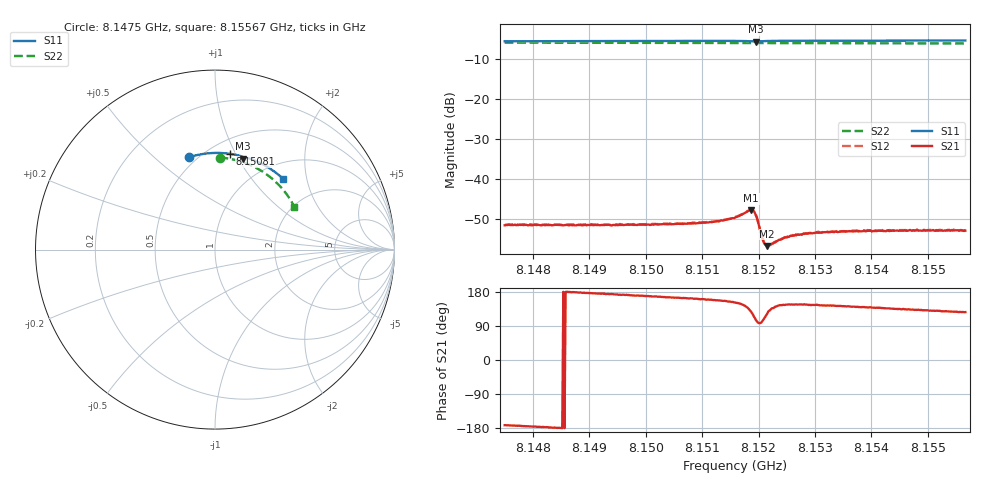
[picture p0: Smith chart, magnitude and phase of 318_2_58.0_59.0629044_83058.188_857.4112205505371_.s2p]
#  HZ  S  RI  R  50.00
! Rohde & Schwarz Vector Network Analyzer
! Rohde-Schwarz,ZNB20-2Port,1311601062101988,3.16
! Created: UTC 3/21/2024, 1:04:29 AM
! freq[Hz]  re:S11  im:S11  re:S21  im:S21  re:S12  im:S12  re:S22  im:S22
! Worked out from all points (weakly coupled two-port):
!   401 points, 8.1475 GHz to 8.15567 GHz, reference 50 ohm
!   highest |S21| = -47.86 dB at 8.15187 GHz (marker M1); lowest = -56.8 dB at 8.15215 GHz (marker M2)
!   lowest |S11| = -5.5 dB at 8.15195 GHz (marker M3), VSWR 3.26, Z = 37.2 + j52.4 ohm
!   |S11| at or under -10 dB: nowhere
!   |S22| runs from -6.0 to -5.8 dB; largest |S21 - S12| = 0.00013
!   S11 on the Smith chart (normalised r, x): 8.1475 GHz: 0.45, +0.65; 8.15081 GHz: 0.63, +0.95; 8.15567 GHz: 1.30, +1.46
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8.147498e9  -0.1438 0.5151  -0.00259 -0.000363  -0.00265 -0.000315  0.0252 0.5131
8.148866e9  -0.0503 0.535  -0.00261 0.000122  -0.00264 0.000131  0.1134 0.4995
8.150234e9  0.0449 0.5377  -0.0026 0.000592  -0.00263 0.000628  0.1973 0.4708
8.150806e9  0.0847 0.5339  -0.00263 0.000827  -0.00262 0.000887  0.2304 0.4547
8.151234e9  0.1147 0.5287  -0.0027 0.00111  -0.00272 0.00113  0.2544 0.4411
8.151582e9  0.1396 0.5224  -0.00287 0.00153  -0.0029 0.00158  0.2732 0.429
8.151806e9  0.156 0.5138  -0.0029 0.00263  -0.00288 0.00269  0.285 0.4207
8.151867e9  0.1585 0.5096  -0.00245 0.00322  -0.00243 0.0033  0.2879 0.4185
8.151908e9  0.1585 0.5069  -0.00182 0.00352  -0.00178 0.00355  0.29 0.4168
8.151949e9  0.1574 0.506  -0.000989 0.00338  -0.00099 0.00345  0.2919 0.4154
8.15199e9  0.1568 0.5073  -0.000435 0.00283  -0.000429 0.00287  0.2939 0.414
8.152072e9  0.161 0.5111  -0.000407 0.00169  -0.000387 0.00175  0.2981 0.4109
8.152092e9  0.1626 0.5116  -0.000494 0.00152  -0.000461 0.00154  0.2992 0.4103
8.152112e9  0.1642 0.512  -0.000583 0.00139  -0.000607 0.00138  0.3001 0.4095
8.152153e9  0.1678 0.5122  -0.000775 0.00121  -0.000813 0.00124  0.3024 0.4079
8.152215e9  0.1728 0.5119  -0.00104 0.00109  -0.000994 0.0011  0.3055 0.4055
8.152378e9  0.1853 0.5091  -0.00141 0.000992  -0.00143 0.00101  0.3137 0.3989
8.152562e9  0.1981 0.5051  -0.00161 0.00108  -0.00157 0.00107  0.3226 0.3914
8.15295e9  0.2241 0.4953  -0.0017 0.00117  -0.00174 0.00123  0.341 0.3748
8.153705e9  0.2716 0.4724  -0.0017 0.0014  -0.0017 0.00142  0.3739 0.3401
8.154318e9  0.3081 0.4506  -0.00159 0.00153  -0.00163 0.00159  0.3982 0.3099
8.155666e9  0.3808 0.3934  -0.00133 0.0018  -0.00132 0.00185  0.4421 0.238
